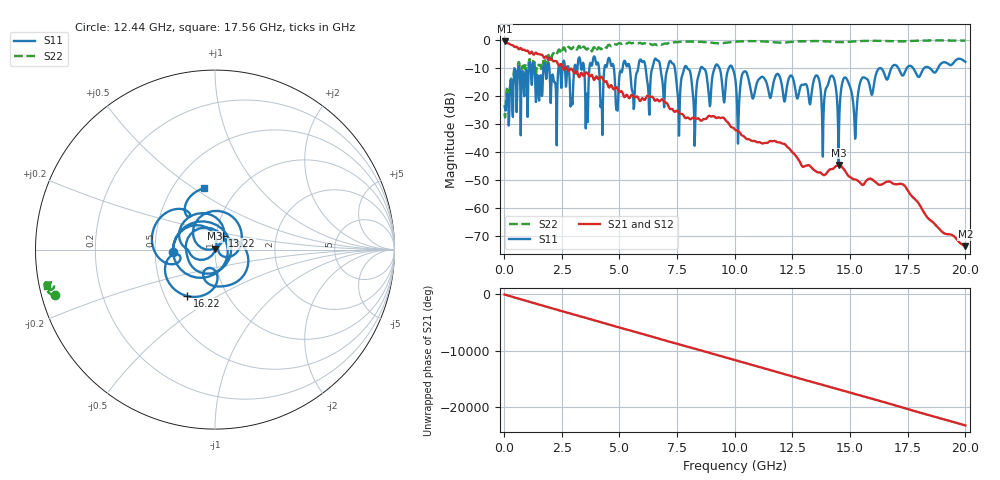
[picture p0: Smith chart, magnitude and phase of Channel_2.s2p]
! Created Sun Jun 24 21:01:46 2012
# hz S ma R 100
! 2 Port Network Data from SP1.SP block
! freq  magS11  angS11  magS21  angS21  magS12  angS12  magS22  angS22
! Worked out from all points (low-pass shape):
!   1000 points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, 20 MHz to 20 GHz, reference 100 ohm
!   highest |S21| = -0.42 dB at 20 MHz (marker M1); lowest = -73.5 dB at 20 GHz (marker M2)
!   |S21| within 3 dB of the highest: start of sweep to 781.5 MHz
!   lowest |S11| = -44.5 dB at 14.5 GHz (marker M3), VSWR 1.01, Z = 99.7 + j1.15 ohm
!   |S11| at or under -10 dB: start of sweep to 610.4 MHz; 7.941 GHz to 8.519 GHz (578.1 MHz wide, 7.02 % of centre); 9.904 GHz to 16.29 GHz (6.382 GHz wide, 48.7 % of centre)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
!   |S22| runs from -27.6 to -0.1 dB; largest |S21 - S12| = 0.0002
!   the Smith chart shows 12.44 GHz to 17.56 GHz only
!   S11 on the Smith chart (normalised r, x): 12.44 GHz: 0.62, -0.02; 13.22 GHz: 1.07, +0.17; 16.22 GHz: 0.65, -0.37; 17.56 GHz: 0.71, +0.55
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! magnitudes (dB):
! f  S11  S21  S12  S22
! 20 MHz  -23.6  -0.4  -0.4  -26.1
! 700 MHz  -16.9  -2.9  -2.9  -12.2
! 3.36 GHz  -10.6  -11.6  -11.6  -3.5
! 3.98 GHz  -8.2  -13.1  -13.1  -3.9
! 4.22 GHz  -21.5  -13.1  -13.1  -3.2
! 4.62 GHz  -8.5  -16.2  -16.2  -2.1
! 4.9 GHz  -25.1  -17.1  -17.1  -1.5
! 6.68 GHz  -7.3  -21.5  -21.5  -1.7
! 7.56 GHz  -24.6  -25.6  -25.6  -0.7
! 7.96 GHz  -10.2  -27.6  -27.6  -0.6
! 8.24 GHz  -26.9  -27.7  -27.8  -0.6
! 8.58 GHz  -9.6  -28.6  -28.6  -0.6
! 10.02 GHz  -13.7  -32.0  -32.0  -0.6
! 12.44 GHz  -12.6  -39.4  -39.5  -0.7
! 13.22 GHz  -21.2  -44.6  -44.7  -0.3
! 13.34 GHz  -18.4  -45.6  -45.6  -0.3
! 14.24 GHz  -12.8  -46.0  -46.0  -0.6
! 14.5 GHz  -44.5  -44.7  -44.8  -0.7
! 16.22 GHz  -10.4  -51.5  -51.5  -0.3
! 16.68 GHz  -12.7  -50.4  -50.4  -0.4
! 17.56 GHz  -9.2  -54.4  -54.4  -0.4
! 20 GHz  -7.8  -73.5  -73.5  -0.2
